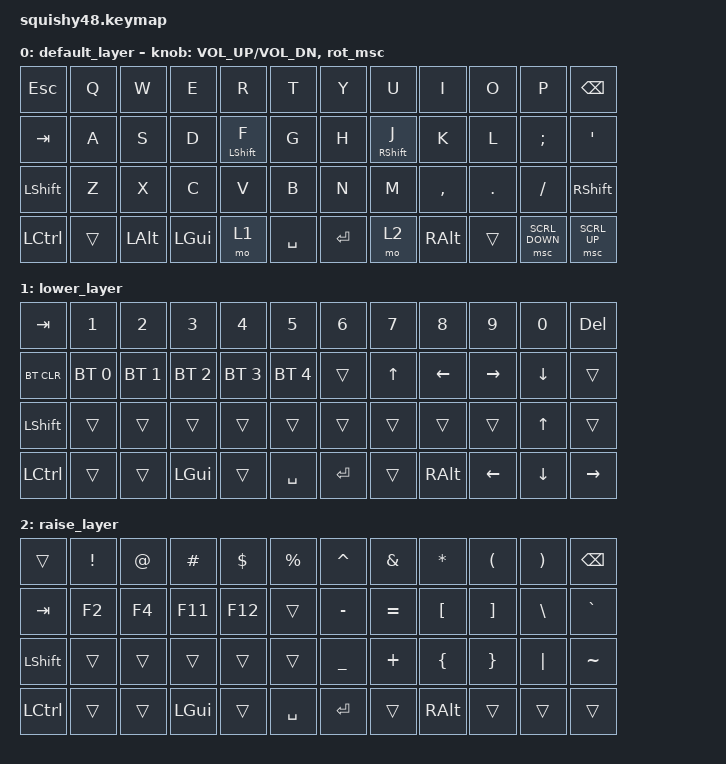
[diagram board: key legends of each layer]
/*
 * Copyright (c) 2020 The ZMK Contributors
 *
 * SPDX-License-Identifier: MIT
 */

#include <behaviors.dtsi>
#include <dt-bindings/zmk/keys.h>
#include <dt-bindings/zmk/bt.h>
#include <dt-bindings/zmk/pointing.h>



/ {
         behaviors {
        rot_msc: rotary_scroll {
            compatible = "zmk,behavior-sensor-rotate";
            #sensor-binding-cells = <0>;
            bindings = <&msc SCRL_DOWN>, <&msc SCRL_UP>;
            tap-ms = <100>;
                };
        };


        keymap {
                compatible = "zmk,keymap";

                default_layer {
                        //encoder definition
sensor-bindings = <&inc_dec_kp C_VOL_UP C_VOL_DN &rot_msc>;
// -----------------------------------------------------------------------------------------
// |  ESC |  Q  |  W  |  E  |  R  |  T  |                |  Y  |  U   |  I  |  O  |  P  | BSPC |
// | TAB  |  A  |  S  |  D  |  F  |  G  |                |  H  |  J   |  K  |  L  |  ;  |  '   |
// | SHFT |  Z  |  X  |  C  |  V  |  B  |                |  N  |  M   |  ,  |  .  |  /  | ESC  |
// | CTRL |trans|trans| WIN | LWR | SPC |                | ENT | RSE  | ALT |trans|trans|trans |

                        bindings = <
   &kp ESC   &kp Q  &kp W    &kp E    &kp R        &kp T        &kp Y   &kp U         &kp I     &kp O   &kp P          &kp BSPC
   &kp TAB   &kp A  &kp S    &kp D    &mt LSHIFT F &kp G        &kp H   &mt RSHIFT J  &kp K     &kp L   &kp SEMI       &kp SQT
   &kp LSHFT &kp Z  &kp X    &kp C    &kp V        &kp B        &kp N   &kp M         &kp COMMA &kp DOT &kp FSLH       &kp RSHFT
   &kp LCTRL &trans &kp LALT &kp LGUI &mo 1        &kp SPACE    &kp RET &mo 2         &kp RALT  &trans  &msc SCRL_DOWN   &msc SCRL_UP
                        >;
                };
                lower_layer {
                        //encoder definition
// -----------------------------------------------------------------------------------------
// |  TAB |  1  |  2  |  3  |  4  |  5  |                                           |  6  |  7  |  8  |  9  |  0  | BSPC |
// | BTCLR| BT1 | BT2 | BT3 | BT4 | BT5 |                                           |     |     |     |     |     |      |
// | SHFT |     |     |     |     |     |                                           |     |     |     |     | UP  |      |
//                    | GUI |     | SPC |                                           | ENT |     | ALT | LFT |DWN  | RGT  |
                        bindings = <
   &kp TAB    &kp N1       &kp N2       &kp N3       &kp N4       &kp N5            &kp N6   &kp N7   &kp N8    &kp N9      &kp N0    &kp DEL
   &bt BT_CLR &bt BT_SEL 0 &bt BT_SEL 1 &bt BT_SEL 2 &bt BT_SEL 3 &bt BT_SEL 4      &trans   &kp UP   &kp LEFT  &kp RIGHT   &kp DOWN  &trans
   &kp LSHFT  &trans       &trans       &trans       &trans       &trans            &trans   &trans   &trans    &trans      &kp UP    &trans
   &kp LCTRL  &trans       &trans       &kp LGUI     &trans       &kp SPACE         &kp RET  &trans   &kp RALT  &kp LEFT    &kp DOWN  &kp RIGHT
                        >;
                };

                raise_layer {
                        //encoder definition
// -----------------------------------------------------------------------------------------
// |  TAB |  !  |  @  |  #  |  $  |  %  |                       |  ^  |  &  |  *  |  (  |  )  | BSPC |
// | CTRL |     |     |     |     |     |                       |  -  |  =  |  [  |  ]  |  \  |  `   |
// | SHFT |     |     |     |     |     |                       |  _  |  +  |  {  |  }  | "|" |  ~   |
// | trans|trans|trans| GUI |trans| SPC |                       | ENT |trans| ALT |trans|trans|trans |
                        bindings = <
   &trans    &kp EXCL &kp AT   &kp HASH &kp DLLR &kp PRCNT      &kp CARET &kp AMPS  &kp ASTRK &kp LPAR &kp RPAR &kp BSPC
   &kp  TAB  &kp F2   &kp F4   &kp F11  &kp F12  &trans         &kp MINUS &kp EQUAL &kp LBKT  &kp RBKT &kp BSLH &kp GRAVE
   &kp LSHFT &trans   &trans   &trans   &trans   &trans         &kp UNDER &kp PLUS  &kp LBRC  &kp RBRC &kp PIPE &kp TILDE
   &kp LCTRL &trans   &trans   &kp LGUI &trans   &kp SPACE      &kp RET   &trans    &kp RALT  &trans   &trans   &trans
                        >;
                };
        };
};




















